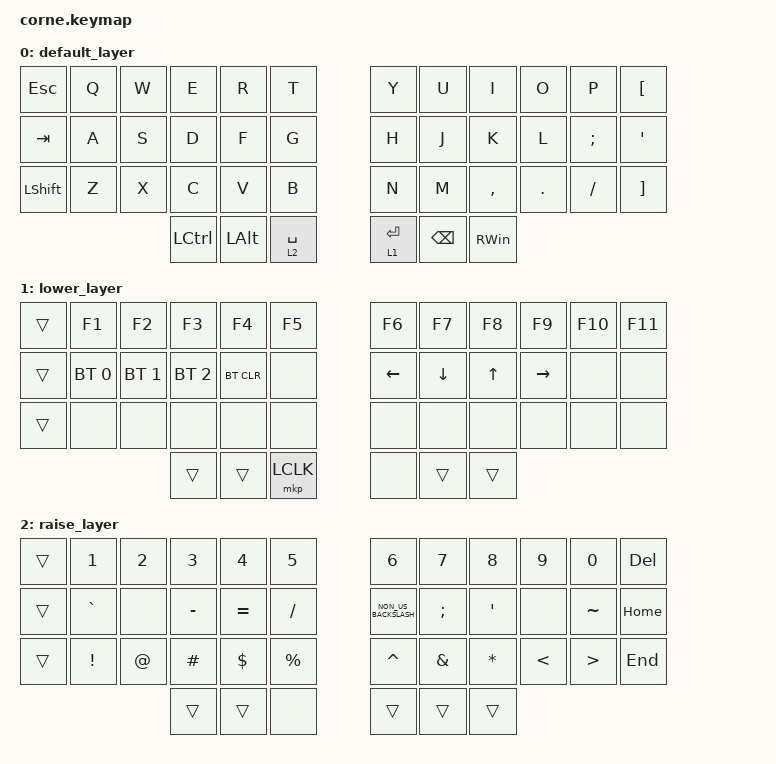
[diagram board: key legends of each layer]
/*
 * Copyright (c) 2020 The ZMK Contributors
 *
 * SPDX-License-Identifier: MIT
 */

#include <behaviors.dtsi>
#include <dt-bindings/zmk/bt.h>
#include <dt-bindings/zmk/keys.h>
#include <dt-bindings/zmk/pointing.h>

/ {
    combos {
        compatible = "zmk,combos";

        left_par {
            timeout-ms = <50>;
            key-positions = <4 5>;
            bindings = <&kp LEFT_PARENTHESIS>;
        };

        left_bracket {
            bindings = <&kp LEFT_BRACKET>;
            key-positions = <16 17>;
        };

        left_brace {
            bindings = <&kp LEFT_BRACE>;
            key-positions = <28 29>;
        };

        right_par {
            bindings = <&kp RIGHT_PARENTHESIS>;
            key-positions = <7 6>;
            timeout-ms = <50>;
        };

        right_bracket {
            bindings = <&kp RIGHT_BRACKET>;
            key-positions = <19 18>;
        };

        right_brace {
            bindings = <&kp RIGHT_BRACE>;
            key-positions = <31 30>;
        };
    };

    behaviors {
        ss_hs_modmorph: ss_hs_modmorph {
            compatible = "zmk,behavior-mod-morph";
            label = "SS_HS_MODMORPH";
            bindings = <&kp M>, <&kp RIGHT_BRACKET>;

            #binding-cells = <0>;
            mods = <(MOD_LSFT|MOD_RSFT)>;
        };

        kh_hs_tapdance: kh_hs_tapdance {
            compatible = "zmk,behavior-tap-dance";
            label = "KH_HS_TAPDANCE";
            #binding-cells = <0>;
            tapping-term-ms = <200>;
            bindings = <&kp LEFT_BRACKET>, <&kp RIGHT_BRACKET>;
        };

        hrm: hrm {
            compatible = "zmk,behavior-hold-tap";
            #binding-cells = <2>;
            flavor = "tap-preferred";
            tapping-term-ms = <200>;
            quick-tap-ms = <200>;
            require-prior-idle-ms = <125>;
            bindings = <&kp>, <&kp>;
        };

        tap_or_mo: tap_or_mo {
            compatible = "zmk,behavior-hold-tap";
            label = "TAP_OR_MO";
            bindings = <&mo>, <&kp>;

            #binding-cells = <2>;
            tapping-term-ms = <200>;
        };

        win_change_language: win_change_language {
            compatible = "zmk,behavior-tap-dance";
            label = "WIN_CHANGE_LANGUAGE";
            #binding-cells = <0>;
            bindings = <&kp LEFT_WIN>, <&kp LG(SPACE)>;

            tapping-term-ms = <200>;
        };

        backspace_del: backspace_del {
            compatible = "zmk,behavior-tap-dance";
            label = "BACKSPACE_DEL";
            #binding-cells = <0>;
            bindings = <&kp BACKSPACE>, <&kp DELETE>;

            tapping-term-ms = <150>;
        };
    };

    macros {
        unicode_dot: unicode_symbols {
            compatible = "zmk,behavior-macro";
            #binding-cells = <0>;
            bindings = <&kt LEFT_ALT &kp KP_N0 &kp KP_N0 &kp KP_N4 &kp KP_N6 &kt LEFT_ALT>;
            label = "UNICODE_SYMBOLS";
            tap-ms = <10>;
            wait-ms = <10>;
        };

        unicode_comma: unicode_comma {
            compatible = "zmk,behavior-macro";
            #binding-cells = <0>;
            bindings = <&kt LEFT_ALT &kp KP_N0 &kp KP_N0 &kp KP_N4 &kp KP_N4 &kt LEFT_ALT>;
            label = "UNICODE_COMMA";
            tap-ms = <10>;
            wait-ms = <10>;
        };

        unicode_semicolon: unicode_semicolon {
            compatible = "zmk,behavior-macro";
            #binding-cells = <0>;
            bindings = <&kt LEFT_ALT &kp KP_N0 &kp KP_N0 &kp KP_N5 &kp KP_N9 &kt LEFT_ALT>;
            label = "UNICODE_SEMICOLON";
            tap-ms = <10>;
            wait-ms = <10>;
        };

        unicode_colon: unicode_colon {
            compatible = "zmk,behavior-macro";
            #binding-cells = <0>;
            bindings = <&kt LEFT_ALT &kp KP_N0 &kp KP_N0 &kp KP_N5 &kp KP_N8 &kt LEFT_ALT>;
            label = "UNICODE_COLON";
            tap-ms = <10>;
            wait-ms = <10>;
        };

        unicode_left_bracket: unicode_left_bracket {
            compatible = "zmk,behavior-macro";
            #binding-cells = <0>;
            bindings = <&kt LEFT_ALT &kp KP_N0 &kp KP_N0 &kp KP_N9 &kp KP_N1 &kt LEFT_ALT>;
            label = "UNICODE_LEFT_BRACKET";
            tap-ms = <10>;
            wait-ms = <10>;
        };

        unicode_right_bracket: unicode_right_bracket {
            compatible = "zmk,behavior-macro";
            #binding-cells = <0>;
            bindings = <&kt LEFT_ALT &kp KP_N0 &kp KP_N0 &kp KP_N9 &kp KP_N3 &kt LEFT_ALT>;
            label = "UNICODE_RIGHT_BRACKET";
            tap-ms = <10>;
            wait-ms = <10>;
        };

        unicode_right_brace: unicode_right_brace {
            compatible = "zmk,behavior-macro";
            #binding-cells = <0>;
            bindings = <&kt LEFT_ALT &kp KP_N0 &kp KP_N1 &kp KP_N2 &kp KP_N5 &kt LEFT_ALT>;
            label = "UNICODE_RIGHT_BRACE";
            tap-ms = <10>;
            wait-ms = <10>;
        };

        unicode_left_brace: unicode_left_brace {
            compatible = "zmk,behavior-macro";
            #binding-cells = <0>;
            bindings = <&kt LEFT_ALT &kp KP_N0 &kp KP_N1 &kp KP_N2 &kp KP_N3 &kt LEFT_ALT>;
            label = "UNICODE_LEFT_BRACE";
            tap-ms = <10>;
            wait-ms = <10>;
        };

        unicode_question_mark: unicode_question_mark {
            compatible = "zmk,behavior-macro";
            #binding-cells = <0>;
            bindings = <&kt LEFT_ALT &kp KP_N0 &kp KP_N0 &kp KP_N6 &kp KP_N3 &kt LEFT_ALT>;
            label = "UNICODE_QUESTION_MARK";
            tap-ms = <10>;
            wait-ms = <10>;
        };

        unicode_exclamation_mark: unicode_exclamation_mark {
            compatible = "zmk,behavior-macro";
            #binding-cells = <0>;
            bindings = <&kt LEFT_ALT &kp KP_N0 &kp KP_N0 &kp KP_N3 &kp KP_N3 &kt LEFT_ALT>;
            label = "UNICODE_EXCLAMATION_MARK";
            tap-ms = <10>;
            wait-ms = <10>;
        };
    };

    keymap {
        compatible = "zmk,keymap";

        default_layer {
            // -----------------------------------------------------------------------------------------
            // |  TAB |  Q  |  W  |  E  |  R  |  T  |   |  Y  |  U   |  I  |  O  |  P  | BKSP |
            // | CTRL |  A  |  S  |  D  |  F  |  G  |   |  H  |  J   |  K  |  L  |  ;  |  '   |
            // | SHFT |  Z  |  X  |  C  |  V  |  B  |   |  N  |  M   |  ,  |  .  |  /  | ESC  |
            //                    | GUI | LWR | SPC |   | ENT | RSE  | ALT |

            bindings = <
&kp ESC    &kp Q  &kp W  &kp E      &kp R         &kp T                 &kp Y             &kp U          &kp I          &kp O    &kp P      &kp LEFT_BRACKET
&kp TAB    &kp A  &kp S  &kp D      &kp F         &kp G                 &kp H             &kp J          &kp K          &kp L    &kp SEMI   &kp SQT
&kp LSHFT  &kp Z  &kp X  &kp C      &kp V         &kp B                 &kp N             &kp M          &kp COMMA      &kp DOT  &kp SLASH  &kp RIGHT_BRACKET
                         &kp LCTRL  &kp LEFT_ALT  &tap_or_mo 2 SPACE    &tap_or_mo 1 RET  &kp BACKSPACE  &kp RIGHT_WIN
            >;
        };

        lower_layer {
            // -----------------------------------------------------------------------------------------
            // |  TAB |  1  |  2  |  3  |  4  |  5  |   |  6  |  7  |  8  |  9  |  0  | BKSP |
            // | BTCLR| BT1 | BT2 | BT3 | BT4 | BT5 |   | LFT | DWN |  UP | RGT |     |      |
            // | SHFT |     |     |     |     |     |   |     |     |     |     |     |      |
            //                    | GUI |     | SPC |   | ENT |     | ALT |

            bindings = <
&trans  &kp F1        &kp F2        &kp F3        &kp F4      &kp F5       &kp F6    &kp F7    &kp F8  &kp F9     &kp F10  &kp F11
&trans  &bt BT_SEL 0  &bt BT_SEL 1  &bt BT_SEL 2  &bt BT_CLR  &none        &kp LEFT  &kp DOWN  &kp UP  &kp RIGHT  &none    &none
&trans  &none         &none         &none         &none       &none        &none     &none     &none   &none      &none    &none
                                    &trans        &trans      &mkp LCLK    &none     &trans    &trans
            >;
        };

        raise_layer {
            // -----------------------------------------------------------------------------------------
            // |  TAB |  !  |  @  |  #  |  $  |  %  |   |  ^  |  &  |  *  |  (  |  )  | BKSP |
            // | CTRL |     |     |     |     |     |   |  -  |  =  |  [  |  ]  |  \  |  `   |
            // | SHFT |     |     |     |     |     |   |  _  |  +  |  {  |  }  | "|" |  ~   |
            //                    | GUI |     | SPC |   | ENT |     | ALT |

            bindings = <
&trans  &kp NUMBER_1     &kp NUMBER_2  &kp NUMBER_3  &kp NUMBER_4  &kp N5         &kp NUMBER_6          &kp N7         &kp N8        &kp N9         &kp N0            &kp DEL
&trans  &kp GRAVE        &none         &kp MINUS     &kp EQUAL     &kp SLASH      &kp NON_US_BACKSLASH  &kp SEMICOLON  &kp SQT       &none          &kp TILDE         &kp HOME
&trans  &kp EXCLAMATION  &kp AT_SIGN   &kp HASH      &kp DOLLAR    &kp PERCENT    &kp CARET             &kp AMPERSAND  &kp ASTERISK  &kp LESS_THAN  &kp GREATER_THAN  &kp END
                                       &trans        &trans        &none          &trans                &trans         &trans
            >;
        };
    };
};
